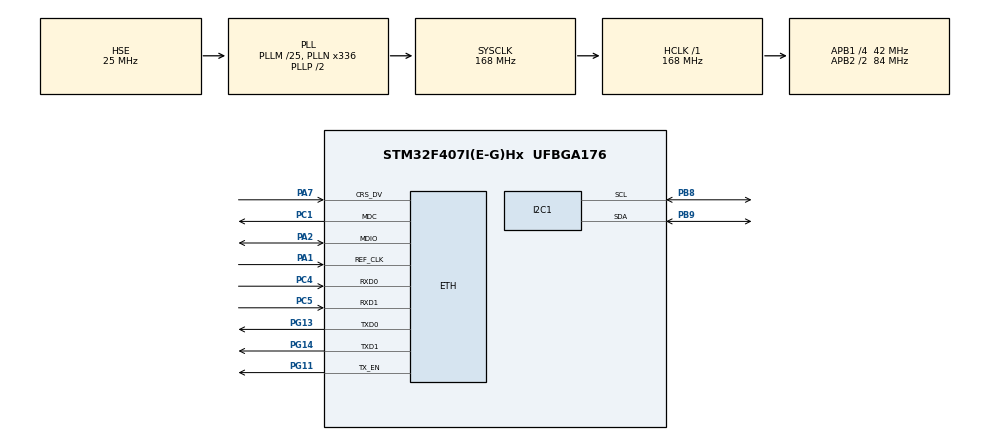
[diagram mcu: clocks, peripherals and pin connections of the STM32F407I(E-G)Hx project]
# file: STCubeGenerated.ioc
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ETH.MediaInterface=ETH_MEDIA_INTERFACE_RMII
Mcu.Family=STM32F4
Mcu.Name=STM32F407I(E-G)Hx
Mcu.Package=UFBGA176
NVIC.ETH_IRQn=true\:0\:0\:false\:false\:true
NVIC.I2C1_ER_IRQn=true\:0\:0\:false\:false\:true
NVIC.I2C1_EV_IRQn=true\:0\:0\:false\:false\:true
NVIC.PriorityGroup=NVIC_PRIORITYGROUP_4
PA1.Mode=RMII
PA1.Signal=ETH_REF_CLK
PA2.Mode=RMII
PA2.Signal=ETH_MDIO
PA7.Mode=RMII
PA7.Signal=ETH_CRS_DV
PB8.Mode=I2C
PB8.Signal=I2C1_SCL
PB9.Mode=I2C
PB9.Signal=I2C1_SDA
PC1.Mode=RMII
PC1.Signal=ETH_MDC
PC4.Mode=RMII
PC4.Signal=ETH_RXD0
PC5.Mode=RMII
PC5.Signal=ETH_RXD1
PG11.Mode=RMII
PG11.Signal=ETH_TX_EN
PG13.Mode=RMII
PG13.Signal=ETH_TXD0
PG14.Mode=RMII
PG14.Signal=ETH_TXD1
PH0-OSC_IN.Mode=HSE-External-Oscillator
PH0-OSC_IN.Signal=RCC_OSC_IN
PH1-OSC_OUT.Mode=HSE-External-Oscillator
PH1-OSC_OUT.Signal=RCC_OSC_OUT
ProjectManager.HeapSize=0x200
ProjectManager.StackSize=0x400
ProjectManager.TargetToolchain=EWARM
RCC.48MHZClocksFreq_Value=42000000
RCC.AHBFreq_Value=168000000
RCC.APB1CLKDivider=RCC_HCLK_DIV4
RCC.APB1Freq_Value=42000000
RCC.APB1TimFreq_Value=84000000
RCC.APB2CLKDivider=RCC_HCLK_DIV2
RCC.APB2Freq_Value=84000000
RCC.APB2TimFreq_Value=168000000
RCC.CortexFreq_Value=168000000
RCC.HCLKFreq_Value=168000000
RCC.HSE_VALUE=25000000
RCC.HSI_VALUE=16000000
RCC.LSE_VALUE=32768
RCC.PLLM=25
RCC.PLLN=336
RCC.PLLQ=8
RCC.PLLSourceVirtual=RCC_PLLSOURCE_HSE
RCC.SYSCLKFreq_VALUE=168000000
RCC.SYSCLKSource=RCC_SYSCLKSOURCE_PLLCLK
RCC.VCOOutputFreq_Value=336000000
board=STCubeGenerated

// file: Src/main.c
/**
  ******************************************************************************
  * File Name          : main.c
  * Description        : Main program body
  ******************************************************************************
  *
  * COPYRIGHT(c) 2016 STMicroelectronics
  *
  * Redistribution and use in source and binary forms, with or without modification,
  * are permitted provided that the following conditions are met:
  *   1. Redistributions of source code must retain the above copyright notice,
  *      this list of conditions and the following disclaimer.
  *   2. Redistributions in binary form must reproduce the above copyright notice,
  *      this list of conditions and the following disclaimer in the documentation
  *      and/or other materials provided with the distribution.
  *   3. Neither the name of STMicroelectronics nor the names of its contributors
  *      may be used to endorse or promote products derived from this software
  *      without specific prior written permission.
  *
  * THIS SOFTWARE IS PROVIDED BY THE COPYRIGHT HOLDERS AND CONTRIBUTORS "AS IS"
  * AND ANY EXPRESS OR IMPLIED WARRANTIES, INCLUDING, BUT NOT LIMITED TO, THE
  * IMPLIED WARRANTIES OF MERCHANTABILITY AND FITNESS FOR A PARTICULAR PURPOSE ARE
  * DISCLAIMED. IN NO EVENT SHALL THE COPYRIGHT HOLDER OR CONTRIBUTORS BE LIABLE
  * FOR ANY DIRECT, INDIRECT, INCIDENTAL, SPECIAL, EXEMPLARY, OR CONSEQUENTIAL
  * DAMAGES (INCLUDING, BUT NOT LIMITED TO, PROCUREMENT OF SUBSTITUTE GOODS OR
  * SERVICES; LOSS OF USE, DATA, OR PROFITS; OR BUSINESS INTERRUPTION) HOWEVER
  * CAUSED AND ON ANY THEORY OF LIABILITY, WHETHER IN CONTRACT, STRICT LIABILITY,
  * OR TORT (INCLUDING NEGLIGENCE OR OTHERWISE) ARISING IN ANY WAY OUT OF THE USE
  * OF THIS SOFTWARE, EVEN IF ADVISED OF THE POSSIBILITY OF SUCH DAMAGE.
  *
  ******************************************************************************
  */
#include "stm32f4xx_hal.h"

/* USER CODE BEGIN Includes */
#include "cmsis_os.h"                   // ARM::CMSIS:RTOS:Keil RTX
#include "Board_LED.h"                  // ::Board Support:LED
#include "rl_net.h"                     // Keil.MDK-Pro::Network:CORE

/* USER CODE END Includes */

ETH_HandleTypeDef heth;

I2C_HandleTypeDef hi2c1;

/* USER CODE BEGIN PV */
/* Private variables ---------------------------------------------------------*/

/* USER CODE END PV */

void SystemClock_Config(void);
void Error_Handler(void);
static void MX_GPIO_Init(void);
//static void MX_ETH_Init(void);
static void MX_I2C1_Init(void);

/* USER CODE BEGIN PFP */
/* Private function prototypes -----------------------------------------------*/

/* USER CODE END PFP */

/* USER CODE BEGIN 0 */
extern void Init_GUIThread(void);

extern uint32_t os_time;

uint32_t HAL_GetTick(void) {
  return os_time;
}
/* USER CODE END 0 */

int main(void)
{

  /* USER CODE BEGIN 1 */
  osKernelInitialize();                 /* Initialize RTOS Kernel for setup     */
  /* USER CODE END 1 */

  /* MCU Configuration----------------------------------------------------------*/

  /* Reset of all peripherals, Initializes the Flash interface and the Systick. */
  HAL_Init();

  /* Configure the system clock */
  SystemClock_Config();

  /* Initialize all configured peripherals */
  MX_GPIO_Init();
//  MX_ETH_Init();
  MX_I2C1_Init();

  /* USER CODE BEGIN 2 */
  LED_Initialize();
  net_initialize();

  Init_GUIThread();

  osKernelStart();                      /* Begin thread switching               */
  /* USER CODE END 2 */

  /* Infinite loop */
  /* USER CODE BEGIN WHILE */
  while (1)
  {
    net_main();
    osDelay(5);
  /* USER CODE END WHILE */

  }

}

/** System Clock Configuration
*/
void SystemClock_Config(void)
{

  RCC_OscInitTypeDef RCC_OscInitStruct;
  RCC_ClkInitTypeDef RCC_ClkInitStruct;

  __HAL_RCC_PWR_CLK_ENABLE();

  __HAL_PWR_VOLTAGESCALING_CONFIG(PWR_REGULATOR_VOLTAGE_SCALE1);

  RCC_OscInitStruct.OscillatorType = RCC_OSCILLATORTYPE_HSE;
  RCC_OscInitStruct.HSEState = RCC_HSE_ON;
  RCC_OscInitStruct.PLL.PLLState = RCC_PLL_ON;
  RCC_OscInitStruct.PLL.PLLSource = RCC_PLLSOURCE_HSE;
  RCC_OscInitStruct.PLL.PLLM = 25;
  RCC_OscInitStruct.PLL.PLLN = 336;
  RCC_OscInitStruct.PLL.PLLP = RCC_PLLP_DIV2;
  RCC_OscInitStruct.PLL.PLLQ = 8;
  if (HAL_RCC_OscConfig(&RCC_OscInitStruct) != HAL_OK)
  {
    Error_Handler();
  }

  RCC_ClkInitStruct.ClockType = RCC_CLOCKTYPE_HCLK|RCC_CLOCKTYPE_SYSCLK
                              |RCC_CLOCKTYPE_PCLK1|RCC_CLOCKTYPE_PCLK2;
  RCC_ClkInitStruct.SYSCLKSource = RCC_SYSCLKSOURCE_PLLCLK;
  RCC_ClkInitStruct.AHBCLKDivider = RCC_SYSCLK_DIV1;
  RCC_ClkInitStruct.APB1CLKDivider = RCC_HCLK_DIV4;
  RCC_ClkInitStruct.APB2CLKDivider = RCC_HCLK_DIV2;
  if (HAL_RCC_ClockConfig(&RCC_ClkInitStruct, FLASH_LATENCY_5) != HAL_OK)
  {
    Error_Handler();
  }

  HAL_SYSTICK_Config(HAL_RCC_GetHCLKFreq()/1000);

  HAL_SYSTICK_CLKSourceConfig(SYSTICK_CLKSOURCE_HCLK);

  /* SysTick_IRQn interrupt configuration */
  HAL_NVIC_SetPriority(SysTick_IRQn, 15, 0);
}

/* ETH init function */
/* static void MX_ETH_Init(void)
{

   uint8_t MACAddr[6] ;

  heth.Instance = ETH;
  heth.Init.AutoNegotiation = ETH_AUTONEGOTIATION_ENABLE;
  heth.Init.PhyAddress = 1;
  MACAddr[0] = 0x00;
  MACAddr[1] = 0x80;
  MACAddr[2] = 0xE1;
  MACAddr[3] = 0x00;
  MACAddr[4] = 0x00;
  MACAddr[5] = 0x00;
  heth.Init.MACAddr = &MACAddr[0];
  heth.Init.RxMode = ETH_RXPOLLING_MODE;
  heth.Init.ChecksumMode = ETH_CHECKSUM_BY_HARDWARE;
  heth.Init.MediaInterface = ETH_MEDIA_INTERFACE_RMII;
  if (HAL_ETH_Init(&heth) != HAL_OK)
  {
    Error_Handler();
  }

} */

/* I2C1 init function */
static void MX_I2C1_Init(void)
{

  hi2c1.Instance = I2C1;
  hi2c1.Init.ClockSpeed = 100000;
  hi2c1.Init.DutyCycle = I2C_DUTYCYCLE_2;
  hi2c1.Init.OwnAddress1 = 0;
  hi2c1.Init.AddressingMode = I2C_ADDRESSINGMODE_7BIT;
  hi2c1.Init.DualAddressMode = I2C_DUALADDRESS_DISABLE;
  hi2c1.Init.OwnAddress2 = 0;
  hi2c1.Init.GeneralCallMode = I2C_GENERALCALL_DISABLE;
  hi2c1.Init.NoStretchMode = I2C_NOSTRETCH_DISABLE;
  if (HAL_I2C_Init(&hi2c1) != HAL_OK)
  {
    Error_Handler();
  }

}

/** Configure pins as
        * Analog
        * Input
        * Output
        * EVENT_OUT
        * EXTI
*/
void MX_GPIO_Init(void)
{

  /* GPIO Ports Clock Enable */
  __HAL_RCC_GPIOB_CLK_ENABLE();
  __HAL_RCC_GPIOG_CLK_ENABLE();
  __HAL_RCC_GPIOH_CLK_ENABLE();
  __HAL_RCC_GPIOC_CLK_ENABLE();
  __HAL_RCC_GPIOA_CLK_ENABLE();

}

void Error_Handler(void)
{
  /* USER CODE BEGIN Error_Handler */
  /* User can add his own implementation to report the HAL error return state */
  while(1)
  {
  };
  /* USER CODE END Error_Handler */
}

/************************ (C) COPYRIGHT STMicroelectronics *****END OF FILE****/
